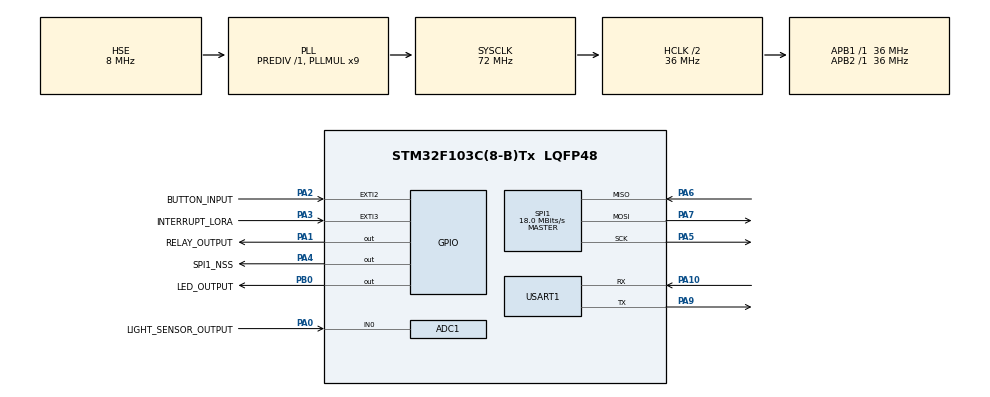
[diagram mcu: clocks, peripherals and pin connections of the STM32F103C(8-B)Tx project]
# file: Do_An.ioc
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Mcu.Family=STM32F1
RCC.PLLSourceVirtual=RCC_PLLSOURCE_HSE
NVIC.ADC1_2_IRQn=true\:1\:0\:true\:false\:true\:true\:true
PA6.Mode=Full_Duplex_Master
TIM4.AutoReloadPreload=TIM_AUTORELOAD_PRELOAD_ENABLE
ADC1.Rank-0\#ChannelRegularConversion=1
PA7.Mode=Full_Duplex_Master
PD1-OSC_OUT.Mode=HSE-External-Oscillator
PA10.Mode=Asynchronous
SPI1.VirtualType=VM_MASTER
ADC1.ContinuousConvMode=DISABLE
VP_IWDG_VS_IWDG.Mode=IWDG_Activate
NVIC.EXTI3_IRQn=true\:0\:0\:false\:false\:true\:true\:true
PB0.GPIO_Label=LED_OUTPUT
PD0-OSC_IN.Signal=RCC_OSC_IN
RCC.SYSCLKSource=RCC_SYSCLKSOURCE_PLLCLK
ProjectManager.StackSize=0x400
PA0-WKUP.GPIO_Label=LIGHT_SENSOR_OUTPUT
PA0-WKUP.Signal=ADCx_IN0
PD1-OSC_OUT.Signal=RCC_OSC_OUT
RCC.ADCPresc=RCC_ADCPCLK2_DIV4
PA13.Signal=SYS_JTMS-SWDIO
PA9.Mode=Asynchronous
PA4.PinState=GPIO_PIN_SET
ProjectManager.TargetToolchain=STM32CubeIDE
SPI1.Direction=SPI_DIRECTION_2LINES
RCC.HCLKFreq_Value=36000000
RCC.APB2TimFreq_Value=36000000
PA9.Signal=USART1_TX
SPI1.CalculateBaudRate=18.0 MBits/s
RCC.USBFreq_Value=72000000
TIM4.Prescaler=36-1
PA1.GPIO_PuPd=GPIO_PULLUP
PA1.Signal=GPIO_Output
RCC.AHBFreq_Value=36000000
PD0-OSC_IN.Mode=HSE-External-Oscillator
PA5.Signal=SPI1_SCK
ADC1.Channel-0\#ChannelRegularConversion=ADC_CHANNEL_0
PA4.GPIO_PuPd=GPIO_PULLUP
board=custom
RCC.PLLMUL=RCC_PLL_MUL9
PA4.GPIO_Speed=GPIO_SPEED_FREQ_LOW
RCC.APB2Freq_Value=36000000
SPI1.Mode=SPI_MODE_MASTER
PA14.Mode=Serial_Wire
PA1.GPIO_Label=RELAY_OUTPUT
RCC.AHBCLKDivider=RCC_SYSCLK_DIV2
SH.ADCx_IN0.0=ADC1_IN0,IN0
TIM4.Period=1000-1
ADC1.NbrOfConversion=1
PA13.Mode=Serial_Wire
Mcu.Name=STM32F103C(8-B)Tx
ADC1.SamplingTime-0\#ChannelRegularConversion=ADC_SAMPLETIME_239CYCLES_5
PA2.Signal=GPXTI2
PA4.Signal=GPIO_Output
RCC.SYSCLKFreq_VALUE=72000000
Mcu.Package=LQFP48
PA6.Signal=SPI1_MISO
ADC1.master=1
USART1.VirtualMode=VM_ASYNC
PA2.GPIO_Label=BUTTON_INPUT
PA10.Signal=USART1_RX
PA14.Signal=SYS_JTCK-SWCLK
ProjectManager.HeapSize=0x200
VP_TIM4_VS_ClockSourceINT.Mode=Internal
NVIC.PriorityGroup=NVIC_PRIORITYGROUP_4
ADC1.NbrOfConversionFlag=1
NVIC.EXTI2_IRQn=true\:0\:0\:false\:false\:true\:true\:true
RCC.APB1TimFreq_Value=36000000
NVIC.USART1_IRQn=true\:0\:0\:false\:false\:true\:true\:true
NVIC.TIM4_IRQn=true\:1\:0\:true\:false\:true\:true\:true
RCC.APB1Freq_Value=36000000
SPI1.BaudRatePrescaler=SPI_BAUDRATEPRESCALER_2
PB0.Signal=GPIO_Output
PA4.GPIO_Label=SPI1_NSS
PB0.GPIO_PuPd=GPIO_PULLUP
PA3.GPIO_Label=INTERRUPT_LORA
PA3.Signal=GPXTI3
PA5.Mode=Full_Duplex_Master
PA7.Signal=SPI1_MOSI

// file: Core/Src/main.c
/* USER CODE BEGIN Header */
/**
 ******************************************************************************
 * @file           : main.c
 * @brief          : Main program body
 ******************************************************************************
 * @attention
 *
 * <h2><center>&copy; Copyright (c) 2021 STMicroelectronics.
 * All rights reserved.</center></h2>
 *
 * This software component is licensed by ST under BSD 3-Clause license,
 * the "License"; You may not use this file except in compliance with the
 * License. You may obtain a copy of the License at:
 *                        opensource.org/licenses/BSD-3-Clause
 *
 ******************************************************************************
 */
/* USER CODE END Header */
#include "main.h"
#include "adc.h"
#include "spi.h"
#include "tim.h"
#include "usart.h"
#include "gpio.h"

/* USER CODE BEGIN Includes */
#include "stm_log.h"
#include "misc.h"
#include "lora.h"
#include "light-sensor.h"
#include "data-format.h"
/* USER CODE END Includes */

/* USER CODE BEGIN PD */
#define SENDER
/* USER CODE END PD */

/* USER CODE BEGIN PV */
USART_CLI_HandleTypedef_t uartCliHandle;
IWDG_HandleTypeDef hiwdg;
extern u8 ucSendData[PAYLOAD_LENGTH];
extern u8 ucReceivedData[PAYLOAD_LENGTH];
MainAppTypeDef_t mInfo = {
    .adcLightSensor = 0,
    .isRxDone = false,
    .isInit = false,
    .pTxData = ucSendData,
    .pRxData = ucReceivedData,
    .loraCurMode = UNKNOWN,
};

/* USER CODE END PV */

void SystemClock_Config(void);

int main(void)
{

  /* MCU Configuration--------------------------------------------------------*/

  /* Reset of all peripherals, Initializes the Flash interface and the Systick. */
  HAL_Init();

  /* Configure the system clock */
  SystemClock_Config();

  /* Initialize all configured peripherals */
  MX_GPIO_Init();
  MX_ADC1_Init();
  MX_SPI1_Init();
  MX_USART1_UART_Init();
  MX_TIM4_Init();
  /* USER CODE BEGIN 2 */

  STM_LOGD("MainInit", "Reset cause: {%s}", resetCauseGetName(resetCauseGet()));
  // STM_LOGD("MainInit", "Watchdog Init {%ums}", iwdgInit(&hiwdg, WATCHDOG_TIME));
  vLoraInit();
  STM_LOGD("MainInit", "------START APPLICATION------");
  LORA_GET_REGISTER(RegSyncWord);
  LORA_GET_REGISTER(RegPayloadLength);

#ifndef SENDER
  /* Receiver */
  vModeInit(STDBY_MODE);
  vSpi1Write(RegFifoAddrPtr, FIFO_RX_BASE_ADDR);
  vModeInit(RXCONTINUOUS_MODE);
#endif /* !SENSOR */
  /* USER CODE END 2 */

  /* USER CODE BEGIN WHILE */
  while (1)
  {
// ADC_READ_LIGHTSENSOR();
#ifdef SENDER
    printf("\r\n");
    LoRaTransmit(mInfo.pTxData , PAYLOAD_LENGTH, 5000);
    HAL_Delay(1000);
#else  /* !SENDER */
    if (mInfo.isRxDone)
    {
      mInfo.isRxDone = false;
      if ((ucSpi1Read(RegIrqFlags) & RX_DONE_Msk) >> RX_DONE_MskPos)
      {
        /* PAYLOAD_CRC CHECK */
        u8 temp = ucSpi1Read(RegIrqFlags);
        if ((temp & PAYLOAD_CRC_ERROR_Msk) >> PAYLOAD_CRC_ERROR_MskPos == 1)
        {
          STM_LOGE("ReceiveErr", "Payload CRC Failed");
        }
        else
        {
          vSpi1Write(RegFifoAddrPtr, ucSpi1Read(RegFifoRxCurrentAddr));
          for (size_t i = 0u; i < PAYLOAD_LENGTH; i++)
          {
            LORA_GET_REGISTER(RegFifoAddrPtr);
            *(mInfo.pRxData + i) = ucSpi1Read(RegFifo);
            STM_LOGV("Transmit", "data receive[%d]: 0x%x", i, *(mInfo.pRxData + i));
          }
        }
      }
      /* CLEAR RX_DONE FLAG */
      vSpi1Write(RegIrqFlags, RX_DONE_Msk | PAYLOAD_CRC_ERROR_Msk);
    }
#endif /* !SENDER */
    HAL_IWDG_Refresh(&hiwdg);
    /* USER CODE END WHILE */

  }
}

void SystemClock_Config(void)
{
  RCC_OscInitTypeDef RCC_OscInitStruct = {0};
  RCC_ClkInitTypeDef RCC_ClkInitStruct = {0};
  RCC_PeriphCLKInitTypeDef PeriphClkInit = {0};

  /** Initializes the RCC Oscillators according to the specified parameters
  * in the RCC_OscInitTypeDef structure.
  */
  RCC_OscInitStruct.OscillatorType = RCC_OSCILLATORTYPE_LSI | RCC_OSCILLATORTYPE_HSE;
  RCC_OscInitStruct.HSEState = RCC_HSE_ON;
  RCC_OscInitStruct.HSEPredivValue = RCC_HSE_PREDIV_DIV1;
  RCC_OscInitStruct.HSIState = RCC_HSI_ON;
  RCC_OscInitStruct.LSIState = RCC_LSI_ON;
  RCC_OscInitStruct.PLL.PLLState = RCC_PLL_ON;
  RCC_OscInitStruct.PLL.PLLSource = RCC_PLLSOURCE_HSE;
  RCC_OscInitStruct.PLL.PLLMUL = RCC_PLL_MUL9;
  if (HAL_RCC_OscConfig(&RCC_OscInitStruct) != HAL_OK)
  {
    Error_Handler();
  }
  /** Initializes the CPU, AHB and APB buses clocks
  */
  RCC_ClkInitStruct.ClockType = RCC_CLOCKTYPE_HCLK | RCC_CLOCKTYPE_SYSCLK | RCC_CLOCKTYPE_PCLK1 | RCC_CLOCKTYPE_PCLK2;
  RCC_ClkInitStruct.SYSCLKSource = RCC_SYSCLKSOURCE_PLLCLK;
  RCC_ClkInitStruct.AHBCLKDivider = RCC_SYSCLK_DIV2;
  RCC_ClkInitStruct.APB1CLKDivider = RCC_HCLK_DIV1;
  RCC_ClkInitStruct.APB2CLKDivider = RCC_HCLK_DIV1;

  if (HAL_RCC_ClockConfig(&RCC_ClkInitStruct, FLASH_LATENCY_2) != HAL_OK)
  {
    Error_Handler();
  }
  PeriphClkInit.PeriphClockSelection = RCC_PERIPHCLK_ADC;
  PeriphClkInit.AdcClockSelection = RCC_ADCPCLK2_DIV4;
  if (HAL_RCCEx_PeriphCLKConfig(&PeriphClkInit) != HAL_OK)
  {
    Error_Handler();
  }
}

/* USER CODE BEGIN 4 */
void _Error_Handler(char *file, int line)
{
  __disable_irq();

  while (1)
  {
    STM_LOGE("ERROR", "Error file %s line %d", file, line);
  }
}
/* USER CODE END 4 */

void Error_Handler(void)
{
  /* USER CODE BEGIN Error_Handler_Debug */
  /* User can add his own implementation to report the HAL error return state */
  __disable_irq();
  while (1)
  {
    STM_LOGE("ERROR", "");
  }
  /* USER CODE END Error_Handler_Debug */
}

/************************ (C) COPYRIGHT STMicroelectronics *****END OF FILE****/
